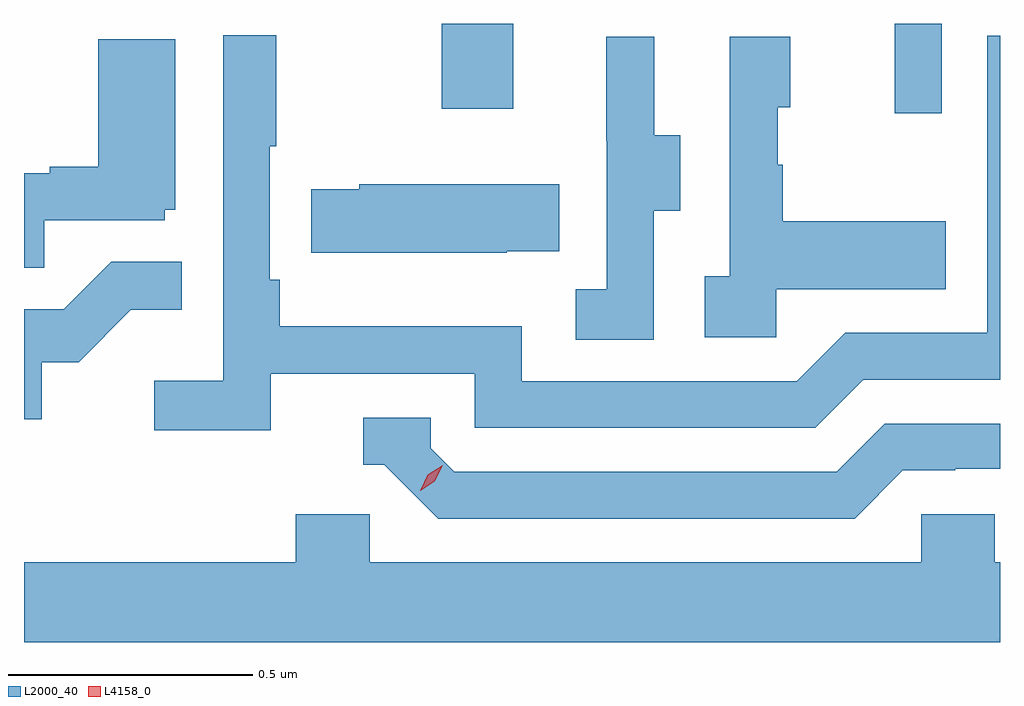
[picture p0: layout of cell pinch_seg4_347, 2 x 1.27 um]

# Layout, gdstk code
import gdstk
lib = gdstk.Library(unit=1e-6, precision=1e-09)
def R(c, l, rs):  # rectangles x0, y0, x1, y1
    for r in rs: c.add(gdstk.rectangle(r[:2], r[2:], *l))
def P(c, l, *ps):  # polygons
    for p in ps: c.add(gdstk.Polygon(p, *l))
L2000_40 = (2000, 40)
L4158_0 = (4158, 0)

pinch_seg4_347 = lib.new_cell('pinch_seg4_347')
R(pinch_seg4_347, L2000_40, [(994.148,811.224,994.245,811.407), (993.22,811.233,993.367,811.407)])
P(pinch_seg4_347, L2000_40, [(992.87,810.69),(993.288,810.69),(993.288,810.579),(993.985,810.579),(994.084,810.678),(994.364,810.678),(994.364,811.383),(994.338,811.383),(994.338,810.774),(994.047,810.774),(993.948,810.675),(993.384,810.675),(993.384,810.787),(992.888,810.787),(992.888,810.883),(992.868,810.883),(992.868,811.156),(992.881,811.156),(992.881,811.384),(992.772,811.384),(992.772,810.676),(992.631,810.676),(992.631,810.574),(992.87,810.574)],
  [(993.906,810.863),(994.253,810.863),(994.253,811.003),(993.919,811.003),(993.919,811.118),(993.909,811.118),(993.909,811.236),(993.934,811.236),(993.934,811.381),(993.81,811.381),(993.81,810.89),(993.759,810.89),(993.759,810.765),(993.906,810.765)],
  [(993.654,811.024),(993.709,811.024),(993.709,811.179),(993.655,811.179),(993.655,811.381),(993.557,811.381),(993.557,811.167),(993.558,811.167),(993.558,810.863),(993.495,810.863),(993.495,810.76),(993.654,810.76)],
  [(992.405,811.005),(992.652,811.005),(992.652,811.026),(992.674,811.026),(992.674,811.375),(992.516,811.375),(992.516,811.114),(992.417,811.114),(992.417,811.101),(992.364,811.101),(992.364,810.907),(992.405,810.907)],
  [(993.353,810.941),(993.461,810.941),(993.461,811.078),(993.051,811.078),(993.051,811.068),(992.953,811.068),(992.953,810.938),(993.353,810.938)],
  [(992.4,810.714),(992.476,810.714),(992.583,810.821),(992.687,810.821),(992.687,810.92),(992.543,810.92),(992.445,810.822),(992.364,810.822),(992.364,810.597),(992.4,810.597)],
  [(994.165,810.492),(994.272,810.492),(994.272,810.495),(994.364,810.495),(994.364,810.588),(994.128,810.588),(994.029,810.489),(993.246,810.489),(993.198,810.537),(993.198,810.6),(993.059,810.6),(993.059,810.504),(993.102,810.504),(993.213,810.393),(994.066,810.393)],
  [(994.364,810.304),(994.353,810.304),(994.353,810.402),(994.203,810.402),(994.203,810.304),(993.072,810.304),(993.072,810.402),(992.921,810.402),(992.921,810.304),(992.364,810.304),(992.364,810.14),(994.364,810.14)])
P(pinch_seg4_347, L4158_0, [(993.176,810.45),(993.176,810.45),(993.191,810.483),(993.222,810.503),(993.222,810.503),(993.222,810.502),(993.206,810.47),(993.176,810.45)])

lib.write_gds('pinch_seg4_347.gds')
